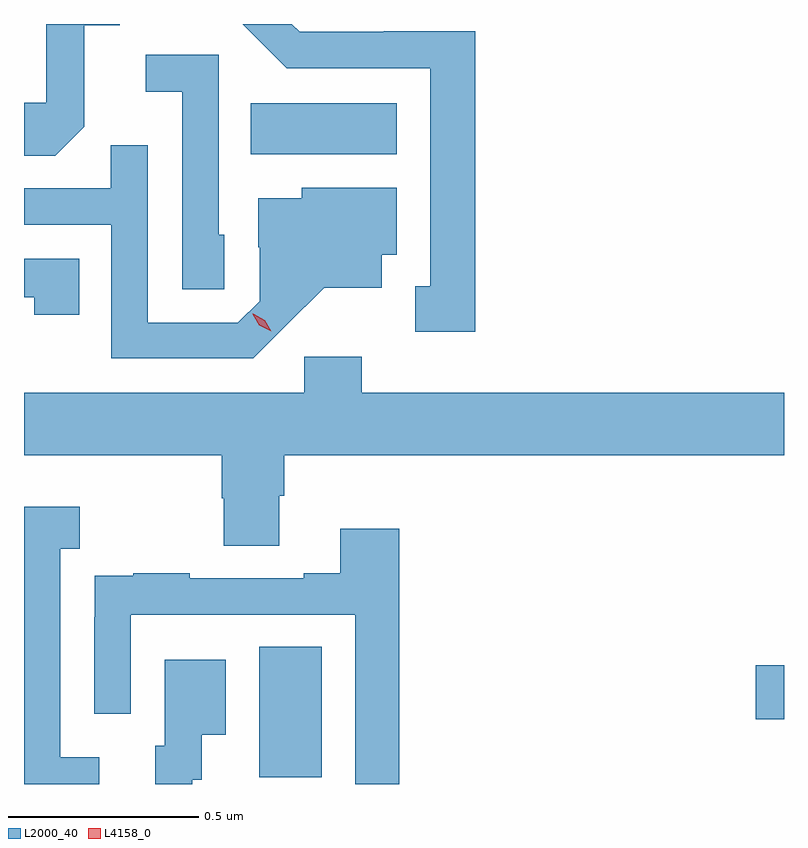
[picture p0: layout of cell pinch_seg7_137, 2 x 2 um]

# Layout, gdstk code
import gdstk
lib = gdstk.Library(unit=1e-6, precision=1e-09)
def R(c, l, rs):  # rectangles x0, y0, x1, y1
    for r in rs: c.add(gdstk.rectangle(r[:2], r[2:], *l))
def P(c, l, *ps):  # polygons
    for p in ps: c.add(gdstk.Polygon(p, *l))
L2000_40 = (2000, 40)
L4158_0 = (4158, 0)

pinch_seg7_137 = lib.new_cell('pinch_seg7_137')
R(pinch_seg7_137, L2000_40, [(1074.452,1006.429,1074.616,1006.772), (1075.758,1006.582,1075.833,1006.724), (1074.43,1008.068,1074.814,1008.202)])
P(pinch_seg7_137, L2000_40, [(1073.991,1008.14),(1073.991,1008.408),(1074.085,1008.408),(1074.085,1008.411),(1073.892,1008.411),(1073.892,1008.204),(1073.833,1008.204),(1073.833,1008.064),(1073.915,1008.064)],
  [(1075.021,1008.392),(1074.78,1008.392),(1074.78,1008.39),(1074.558,1008.39),(1074.537,1008.411),(1074.408,1008.411),(1074.525,1008.294),(1074.902,1008.294),(1074.902,1007.721),(1074.863,1007.721),(1074.863,1007.601),(1075.021,1007.601)],
  [(1074.36,1007.856),(1074.345,1007.856),(1074.345,1008.33),(1074.153,1008.33),(1074.153,1008.233),(1074.249,1008.233),(1074.249,1007.713),(1074.36,1007.713)],
  [(1074.52,1007.615),(1074.623,1007.717),(1074.775,1007.717),(1074.775,1007.804),(1074.814,1007.804),(1074.814,1007.98),(1074.564,1007.98),(1074.564,1007.953),(1074.449,1007.953),(1074.449,1007.824),(1074.453,1007.824),(1074.453,1007.682),(1074.396,1007.625),(1074.159,1007.625),(1074.159,1008.092),(1074.061,1008.092),(1074.061,1007.979),(1073.833,1007.979),(1073.833,1007.883),(1074.063,1007.883),(1074.063,1007.532),(1074.436,1007.532)],
  [(1073.978,1007.793),(1073.833,1007.793),(1073.833,1007.692),(1073.86,1007.692),(1073.86,1007.646),(1073.978,1007.646)],
  [(1074.505,1007.17),(1074.518,1007.17),(1074.518,1007.276),(1075.833,1007.276),(1075.833,1007.44),(1074.722,1007.44),(1074.722,1007.536),(1074.57,1007.536),(1074.57,1007.44),(1073.833,1007.44),(1073.833,1007.276),(1074.353,1007.276),(1074.353,1007.163),(1074.358,1007.163),(1074.358,1007.038),(1074.505,1007.038)],
  [(1074.031,1006.482),(1073.928,1006.482),(1073.928,1007.03),(1073.98,1007.03),(1073.98,1007.14),(1073.833,1007.14),(1073.833,1006.411),(1074.031,1006.411)],
  [(1074.821,1007.083),(1074.665,1007.083),(1074.665,1006.966),(1074.569,1006.966),(1074.569,1006.953),(1074.269,1006.953),(1074.269,1006.966),(1074.121,1006.966),(1074.121,1006.959),(1074.019,1006.959),(1074.019,1006.85),(1074.018,1006.85),(1074.018,1006.596),(1074.114,1006.596),(1074.114,1006.857),(1074.705,1006.857),(1074.705,1006.411),(1074.821,1006.411)],
  [(1074.276,1006.422),(1074.301,1006.422),(1074.301,1006.541),(1074.364,1006.541),(1074.364,1006.738),(1074.203,1006.738),(1074.203,1006.512),(1074.179,1006.512),(1074.179,1006.411),(1074.276,1006.411)])
P(pinch_seg7_137, L4158_0, [(1074.483,1007.603),(1074.452,1007.618),(1074.435,1007.647),(1074.435,1007.648),(1074.436,1007.648),(1074.466,1007.632),(1074.483,1007.603),(1074.483,1007.603)])

lib.write_gds('pinch_seg7_137.gds')
